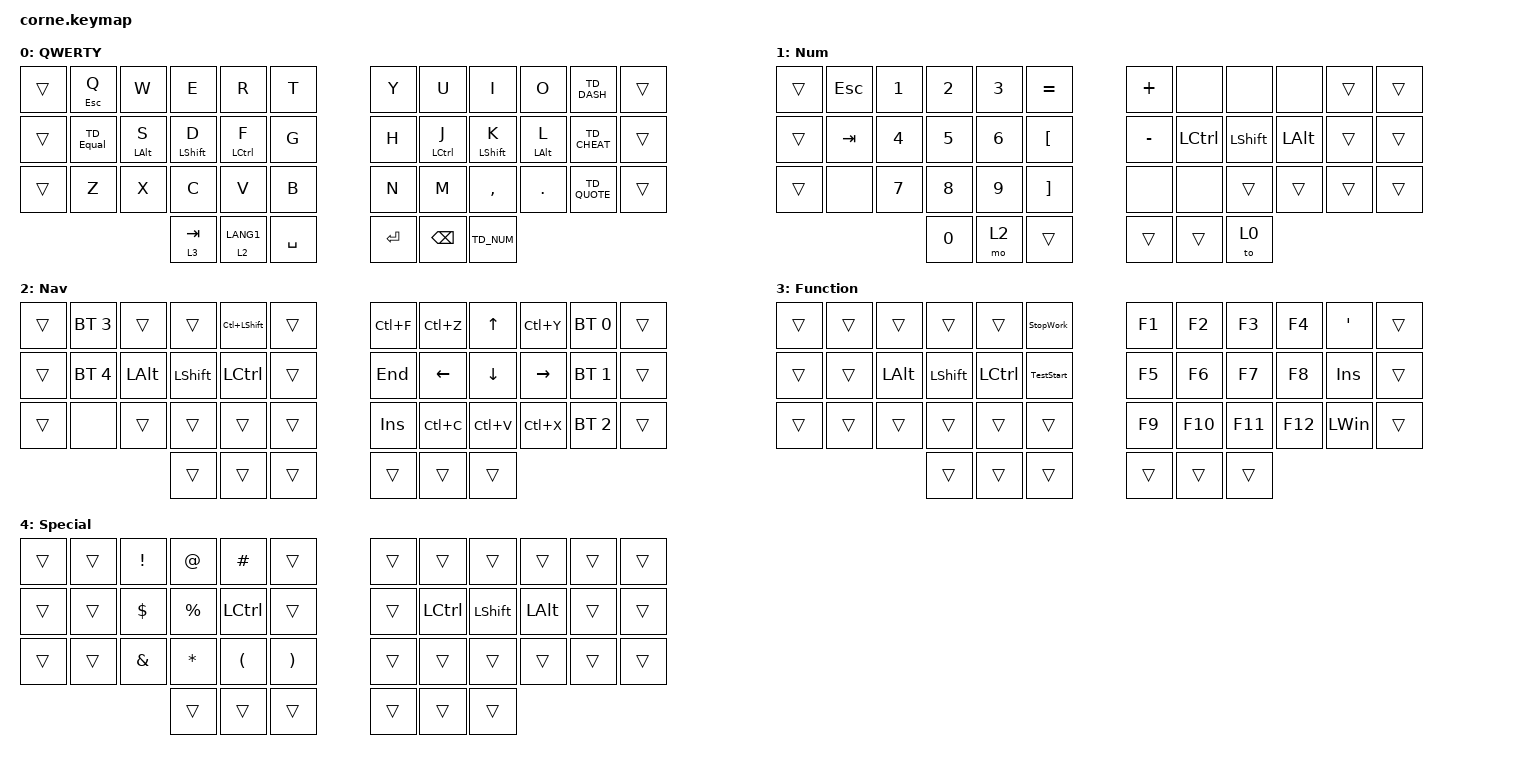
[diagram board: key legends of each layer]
#include <behaviors.dtsi>
#include <dt-bindings/zmk/bt.h>
#include <dt-bindings/zmk/keys.h>

/ {
    behaviors {
        hm: hm {
            compatible = "zmk,behavior-hold-tap";
            label = "HM";
            bindings = <&kp>, <&kp>;

            #binding-cells = <2>;
            tapping-term-ms = <350>;
            quick-tap-ms = <200>;
            require-prior-idle-ms = <125>;
            flavor = "tap-preferred";
        };

        TD_NUM: TD_NUM {
            compatible = "zmk,behavior-tap-dance";
            label = "TD_NUM";
            #binding-cells = <0>;
            bindings = <&kp LEFT_SHIFT>, <&mo 1>;

            tapping-term-ms = <350>;
        };

        TD_DASH: TD_DASH {
            compatible = "zmk,behavior-tap-dance";
            label = "TD_DASH";
            #binding-cells = <0>;
            bindings = <&kp P>, <&kp MINUS>;

            tapping-term-ms = <350>;
        };

        TD_QUOTE: TD_QUOTE {
            compatible = "zmk,behavior-tap-dance";
            label = "TD_QUOTE";
            #binding-cells = <0>;
            bindings = <&AS EXCLAMATION SLASH>, <&kp SQT>;

            tapping-term-ms = <350>;
        };

        TD_CHEAT: TD_CHEAT {
            compatible = "zmk,behavior-tap-dance";
            label = "TD_CHEAT";
            #binding-cells = <0>;
            bindings = <&kp SEMICOLON>, <&kp GRAVE>;

            tapping-term-ms = <350>;
        };

        NM: NM {
            compatible = "zmk,behavior-hold-tap";
            label = "NM";
            #binding-cells = <2>;
            tapping-term-ms = <200>;
            flavor = "balanced";
            bindings = <&mo>, <&tog>;

            hold-trigger-key-positions = <41>;
        };

        AS: AS {
            compatible = "zmk,behavior-hold-tap";
            label = "AS";
            bindings = <&kp>, <&kp>;

            #binding-cells = <2>;
            tapping-term-ms = <135>;
            flavor = "tap-preferred";
        };

        TD_Equal: TD_Equal {
            compatible = "zmk,behavior-tap-dance";
            label = "TD_EQUAL";
            #binding-cells = <0>;
            bindings = <&kp A>, <&kp EQUAL>;
        };
    };

    combos {
        compatible = "zmk,combos";

        Com_Del {
            bindings = <&kp DELETE>;
            key-positions = <1 2>;
        };

        Com_Star {
            bindings = <&kp LS(NUMBER_8)>;
            key-positions = <10 9>;
        };

        Com_Lock {
            bindings = <&kp LG(L)>;
            key-positions = <34 33>;
        };

        Com_NUM {
            bindings = <&kp LS(NUMBER_3)>;
            key-positions = <5 4>;
        };

        Com_big {
            bindings = <&Big>;
            key-positions = <16 17>;
        };

        Com_small {
            bindings = <&Small>;
            key-positions = <29 28>;
        };

        ToNav {
            bindings = <&tog 2>;
            key-positions = <38 37>;
        };

        ToFunc {
            bindings = <&tog 3>;
            key-positions = <38 36>;
        };

        ToNum {
            bindings = <&tog 1>;
            key-positions = <39 41>;
        };

        ToSpecial {
            bindings = <&mo 4>;
            key-positions = <41 40>;
        };
    };

    macros {
        Big: new_macro {
            compatible = "zmk,behavior-macro";
            #binding-cells = <0>;
            bindings =
                <&kp LEFT_BRACKET &kp RIGHT_BRACKET>,
                <&macro_wait_time 50>,
                <&kp LEFT>;

            label = "NEW_MACRO";
        };

        Small: Small {
            compatible = "zmk,behavior-macro";
            #binding-cells = <0>;
            bindings =
                <&kp LEFT_PARENTHESIS &kp RIGHT_PARENTHESIS>,
                <&macro_wait_time 50>,
                <&kp LEFT>;

            label = "SMALL";
        };

        StopWork: StopWork {
            compatible = "zmk,behavior-macro";
            #binding-cells = <0>;
            bindings =
                <&none &kp MINUS &kp SPACE &kp R &kp O &kp D &kp L &kp S &kp SPACE &kp T &kp K &kp D &kp B>,
                <&macro_press>;

            label = "STOPWORK";
        };

        AutoSwitch: AutoSwitch {
            compatible = "zmk,behavior-macro";
            #binding-cells = <0>;
            bindings =
                <&to 0>,
                <&macro_press>,
                <&kp LEFT_SHIFT>,
                <&macro_pause_for_release>,
                <&macro_release>,
                <&kp LEFT_SHIFT>;

            label = "AUTOSWITCH";
        };

        AutoCtrl: AutoCtrl {
            compatible = "zmk,behavior-macro";
            #binding-cells = <0>;
            bindings =
                <&to 0>,
                <&macro_press>,
                <&kp LCTRL>,
                <&macro_pause_for_release>,
                <&macro_release>,
                <&kp LCTRL>;

            label = "AUTOCTRL";
        };

        AutoAlt: AutoAlt {
            compatible = "zmk,behavior-macro";
            #binding-cells = <0>;
            bindings =
                <&to 0>,
                <&macro_press>,
                <&kp LEFT_ALT>,
                <&macro_pause_for_release>,
                <&macro_release>,
                <&kp LEFT_ALT>;

            label = "AUTOALT";
        };

        TestStart: TestStart {
            compatible = "zmk,behavior-macro";
            #binding-cells = <0>;
            bindings =
                <&kp F1>,
                <&macro_wait_time 50>,
                <&kp SQT>,
                <&macro_wait_time 50>,
                <&kp G &kp O &kp D &kp T &kp E &kp S &kp T>,
                <&macro_wait_time 50>,
                <&kp PLUS &kp PLUS &kp PLUS &kp PLUS &kp PLUS>;

            label = "TESTSTART";
        };
    };

    keymap {
        compatible = "zmk,keymap";

        QWERTY {
            display-name = "QWERTY";
            bindings = <
&trans  &hm ESC Q  &kp W           &kp E             &kp R        &kp T        &kp Y      &kp U          &kp I             &kp O           &TD_DASH   &trans
&trans  &TD_Equal  &hm LEFT_ALT S  &hm LEFT_SHIFT D  &hm LCTRL F  &kp G        &kp H      &hm LCTRL J    &hm LEFT_SHIFT K  &hm LEFT_ALT L  &TD_CHEAT  &trans
&trans  &kp Z      &kp X           &kp C             &kp V        &kp B        &kp N      &kp M          &kp COMMA         &kp DOT         &TD_QUOTE  &trans
                                   &lt 3 TAB         &lt 2 LANG1  &kp SPACE    &kp ENTER  &kp BACKSPACE  &TD_NUM
            >;

            label = "QWERTY";
        };

        Num {
            display-name = "Num";
            bindings = <
&trans  &kp ESC  &kp NUMBER_1  &kp NUMBER_2  &kp NUMBER_3  &kp EQUAL            &kp PLUS   &none      &none           &none         &trans  &trans
&trans  &kp TAB  &kp NUMBER_4  &kp N5        &kp NUMBER_6  &kp LEFT_BRACKET     &kp MINUS  &kp LCTRL  &kp LEFT_SHIFT  &kp LEFT_ALT  &trans  &trans
&trans  &none    &kp N7        &kp NUMBER_8  &kp N9        &kp RIGHT_BRACKET    &none      &none      &trans          &trans        &trans  &trans
                               &kp NUMBER_0  &mo 2         &trans               &trans     &trans     &to 0
            >;
        };

        Nav {
            display-name = "Nav";
            bindings = <
&trans  &bt BT_SEL 3  &trans        &trans          &kp LC(LEFT_SHIFT)  &trans    &kp LC(F)   &kp LC(Z)       &kp UP     &kp LC(Y)  &bt BT_SEL 0  &trans
&trans  &bt BT_SEL 4  &kp LEFT_ALT  &kp LEFT_SHIFT  &kp LCTRL           &trans    &kp END     &kp LEFT_ARROW  &kp DOWN   &kp RIGHT  &bt BT_SEL 1  &trans
&trans  &none         &trans        &trans          &trans              &trans    &kp INSERT  &kp LC(C)       &kp LC(V)  &kp LC(X)  &bt BT_SEL 2  &trans
                                    &trans          &trans              &trans    &trans      &trans          &trans
            >;
        };

        Function {
            display-name = "Function";
            bindings = <
&trans  &trans  &trans        &trans          &trans     &StopWork     &kp F1  &kp F2   &kp F3   &kp F4   &kp SQT       &trans
&trans  &trans  &kp LEFT_ALT  &kp LEFT_SHIFT  &kp LCTRL  &TestStart    &kp F5  &kp F6   &kp F7   &kp F8   &kp INSERT    &trans
&trans  &trans  &trans        &trans          &trans     &trans        &kp F9  &kp F10  &kp F11  &kp F12  &kp LEFT_WIN  &trans
                              &trans          &trans     &trans        &trans  &trans   &trans
            >;
        };

        Special {
            bindings = <
&trans  &trans  &kp EXCLAMATION  &kp AT_SIGN   &kp HASH              &trans                   &trans  &trans     &trans          &trans        &trans  &trans
&trans  &trans  &kp DOLLAR       &kp PERCENT   &kp LCTRL             &trans                   &trans  &kp LCTRL  &kp LEFT_SHIFT  &kp LEFT_ALT  &trans  &trans
&trans  &trans  &kp AMPERSAND    &kp ASTERISK  &kp LEFT_PARENTHESIS  &kp RIGHT_PARENTHESIS    &trans  &trans     &trans          &trans        &trans  &trans
                                 &trans        &trans                &trans                   &trans  &trans     &trans
            >;
        };
    };
};
